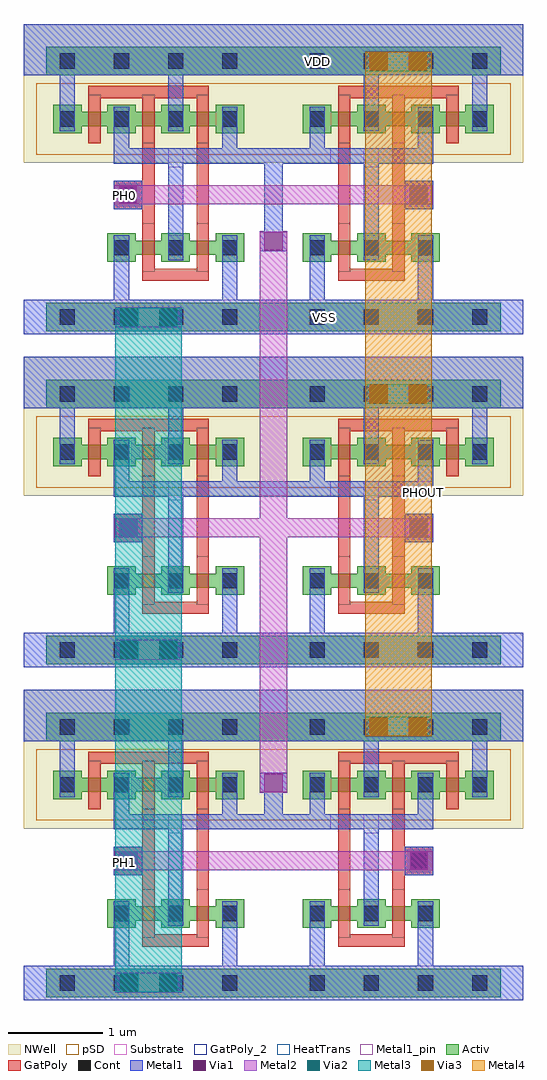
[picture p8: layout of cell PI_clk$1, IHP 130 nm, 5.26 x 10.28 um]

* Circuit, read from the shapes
.subckt PI_clk$1 PH0 PH1 PHOUT VDD VSS
XM1 inv_PI_d2$1_1/VIN PH1 VSS VSS sg13_lv_nmos w=0.15u l=0.13u m=4
XM2 PHOUT inv_PI_d2$1_1/VIN VSS VSS sg13_lv_nmos w=0.15u l=0.13u m=4
XM3 inv_PI_d2$1_1/VIN PH0 VSS VSS sg13_lv_nmos w=0.15u l=0.13u m=4
XM4 inv_PI_d2$1_1/VIN PH1 VDD VDD sg13_lv_pmos w=0.15u l=0.13u m=6
XM5 PHOUT inv_PI_d2$1_1/VIN VDD VDD sg13_lv_pmos w=0.15u l=0.13u m=6
XM6 inv_PI_d2$1_1/VIN PH0 VDD VDD sg13_lv_pmos w=0.15u l=0.13u m=6
.ends

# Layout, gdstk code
from math import pi, radians
import gdstk
lib = gdstk.Library(unit=1e-6, precision=5e-09)
def R(c, l, rs):  # rectangles x0, y0, x1, y1
    for r in rs: c.add(gdstk.rectangle(r[:2], r[2:], *l))
def A(c, l, x, y, w, h, nx, ny, dx, dy):  # array of equal rectangles
    R(c, l, [(x+i*dx, y+j*dy, x+i*dx+w, y+j*dy+h) for i in range(nx) for j in range(ny)])
Activ = (1, 0)
GatPoly = (5, 0)
GatPoly_2 = (5, 2)
Cont = (6, 0)
Metal1 = (8, 0)
Metal1_pin = (8, 2)
Metal2 = (10, 0)
pSD = (14, 0)
Via1 = (19, 0)
Via2 = (29, 0)
Metal3 = (30, 0)
NWell = (31, 0)
Substrate = (40, 0)
Via3 = (49, 0)
Metal4 = (50, 0)
HeatTrans = (51, 0)

pmos_1_1_1_1 = lib.new_cell('pmos$1$1$1$1')
A(pmos_1_1_1_1, Activ, 0, 0, 0.3, 0.3, 4, 1, 0.57, 0)
R(pmos_1_1_1_1, Activ, [(0,0.075,2.01,0.225)])
A(pmos_1_1_1_1, GatPoly, 0.37, -0.105, 0.13, 0.51, 3, 1, 0.57, 0)
R(pmos_1_1_1_1, GatPoly, [(0.37,-0.105,0.5,0.405)])
A(pmos_1_1_1_1, Cont, 0.07, 0.07, 0.16, 0.16, 4, 1, 0.57, 0)
A(pmos_1_1_1_1, Metal1, 0.64, 0.02, 0.16, 0.26, 3, 1, 0.57, 0)
R(pmos_1_1_1_1, Metal1, [(0.07,0.02,0.23,0.28), (0.07,0.02,0.23,0.28), (0.64,0.02,0.8,0.28)])
R(pmos_1_1_1_1, pSD, [(-0.18,-0.225,2.19,0.525)])
R(pmos_1_1_1_1, NWell, [(-0.31,-0.31,2.32,0.61)])
R(pmos_1_1_1_1, Substrate, [(1.71,0,2.01,0.3)])
A(pmos_1_1_1_1, HeatTrans, 0.37, -0.105, 0.13, 0.51, 3, 1, 0.57, 0)
pmos_1_1_1_1.add(gdstk.Label('pmos', (0.435,0.15), layer=63, texttype=0))
pmos_1_1_1_1.add(gdstk.Label('pmos', (0.435,0.15), layer=51, texttype=0))
pmos_1_1_1_1.add(gdstk.Label('pmos', (1.005,0.15), layer=51, texttype=0))
pmos_1_1_1_1.add(gdstk.Label('pmos', (1.575,0.15), layer=51, texttype=0))

nmos_9_3_1 = lib.new_cell('nmos$9$3$1')
A(nmos_9_3_1, Activ, 0, 0, 0.3, 0.3, 3, 1, 0.57, 0)
R(nmos_9_3_1, Activ, [(0,0.075,1.44,0.225)])
R(nmos_9_3_1, GatPoly, [(0.37,-0.105,0.5,0.405), (0.94,-0.105,1.07,0.405)])
R(nmos_9_3_1, GatPoly_2, [(0.37,-0.105,0.5,0.405)])
A(nmos_9_3_1, Cont, 0.07, 0.07, 0.16, 0.16, 3, 1, 0.57, 0)
A(nmos_9_3_1, Metal1, 0.07, 0.02, 0.16, 0.26, 3, 1, 0.57, 0)
R(nmos_9_3_1, Metal1_pin, [(0.07,0.02,0.23,0.28), (0.64,0.02,0.8,0.28)])
R(nmos_9_3_1, HeatTrans, [(0.37,-0.105,0.5,0.405), (0.94,-0.105,1.07,0.405)])
nmos_9_3_1.add(gdstk.Label('nmos', (0.435,0.15), layer=63, texttype=0))
nmos_9_3_1.add(gdstk.Label('nmos', (0.435,0.15), layer=51, texttype=0))
nmos_9_3_1.add(gdstk.Label('nmos', (1.005,0.15), layer=51, texttype=0))

inv_pi_1 = lib.new_cell('inv_PI$1')
R(inv_pi_1, Activ, [(2,1.95,4.15,2.25), (2,4.645,4.15,4.945)])
R(inv_pi_1, GatPoly, [(3.01,2.48,3.71,2.61), (3.01,2.655,3.14,4.535), (3.58,2.655,3.71,4.535), (2.71,3.235,3.01,3.535), (2.44,3.93,2.57,4.535), (2.44,4.405,3.71,4.535)])
A(inv_pi_1, Cont, 2.14, 2.02, 0.16, 0.16, 4, 2, 0.57, 2.695)
R(inv_pi_1, Cont, [(2.78,3.305,2.94,3.465)])
R(inv_pi_1, Metal1, [(1.76,1.92,4.39,2.28), (2.71,1.95,2.87,2.96), (3.85,1.95,4.01,2.96), (3.28,2.7,3.44,3.875), (2.71,3.235,3.01,3.535), (2.71,3.715,4.01,3.875), (2.71,3.715,2.87,4.315), (3.85,3.715,4.01,4.315), (2.14,4.105,2.3,4.945), (3.28,4.105,3.44,4.945), (1.76,4.645,4.39,5.185)])
R(inv_pi_1, Metal1_pin, [(1.76,1.92,4.39,2.28), (2.71,3.235,3.01,3.535), (3.28,3.675,3.44,3.875), (1.76,4.645,4.39,5.185)])
R(inv_pi_1, pSD, [(1.76,1.92,4.39,2.28)])
R(inv_pi_1, NWell, [(1.76,4.645,4.39,5.185)])
inv_pi_1.add(gdstk.Reference(pmos_1_1_1_1, (2.07,4.035)))
inv_pi_1.add(gdstk.Reference(nmos_9_3_1, (2.64,2.68)))
inv_pi_1.add(gdstk.Label('VDD', (3.075,4.805), layer=8, texttype=25))
inv_pi_1.add(gdstk.Label('VOUT', (3.28,3.75), layer=8, texttype=25))
inv_pi_1.add(gdstk.Label('VIN', (2.8,3.32), layer=8, texttype=25))
inv_pi_1.add(gdstk.Label('VSS', (3.025,2.065), layer=8, texttype=25))

inv_pi_d2_1 = lib.new_cell('inv_PI_d2$1')
R(inv_pi_d2_1, Activ, [(4.15,1.95,4.63,2.25), (4.15,4.645,4.635,4.945)])
R(inv_pi_d2_1, Metal1, [(2.715,3.28,3.005,3.49), (5.775,3.28,6.065,3.49), (4.01,3.715,4.93,3.875)])
R(inv_pi_d2_1, Metal1_pin, [(1.76,1.92,7.02,2.28), (4.99,3.715,5.15,3.875), (1.76,4.645,7.02,5.185)])
R(inv_pi_d2_1, Metal2, [(2.715,3.285,6.065,3.485)])
R(inv_pi_d2_1, pSD, [(4.26,3.81,4.52,4.56)])
R(inv_pi_d2_1, Via1, [(2.765,3.29,2.955,3.48), (5.825,3.29,6.015,3.48)])
inv_pi_d2_1.add(gdstk.Reference(inv_pi_1, (0,0)))
inv_pi_d2_1.add(gdstk.Reference(inv_pi_1, (8.78,0), rotation=pi, x_reflection=True))
inv_pi_d2_1.add(gdstk.Label('VDD', (3.925,4.795), layer=8, texttype=25))
inv_pi_d2_1.add(gdstk.Label('VOUT', (5.035,3.77), layer=8, texttype=25))
inv_pi_d2_1.add(gdstk.Label('VIN', (2.86,3.385), layer=8, texttype=25))
inv_pi_d2_1.add(gdstk.Label('VSS', (3.93,2.1), layer=8, texttype=25))

pi_clk_1 = lib.new_cell('PI_clk$1')
A(pi_clk_1, Metal1, 5.355, 4.45, 0.7, 0.21, 1, 3, 0, 3.505)
R(pi_clk_1, Metal1, [(2.725,1.755,3.425,1.965), (2.725,1.755,3.425,1.965), (4.29,3.475,4.49,3.965), (4.245,3.86,4.535,4.07), (2.725,5.26,3.425,5.47), (2.725,5.26,3.425,5.47), (2.725,8.765,3.425,8.975), (2.725,8.765,3.425,8.975), (4.245,9.565,4.535,9.775), (4.29,9.67,4.49,10.645)])
R(pi_clk_1, Metal1_pin, [(2.71,2.995,3.01,3.295), (5.91,6.98,6.07,7.14), (1.76,8.69,7.02,9.05), (2.71,10.005,3.01,10.305), (1.76,11.415,7.02,11.955)])
A(pi_clk_1, Metal2, 5.355, 4.45, 0.7, 0.21, 1, 3, 0, 3.505)
R(pi_clk_1, Metal2, [(2.725,1.755,3.425,1.965), (2.725,1.755,3.425,1.965), (4.245,3.865,4.535,4.065), (4.245,3.865,4.535,6.75), (2.725,5.26,3.425,5.47), (2.725,5.26,3.425,5.47), (4.245,6.55,4.535,9.77), (2.725,8.765,3.425,8.975), (2.725,8.765,3.425,8.975), (4.245,9.57,4.535,9.77)])
A(pi_clk_1, Via1, 5.405, 4.46, 0.19, 0.19, 1, 3, 0, 3.505)
A(pi_clk_1, Via1, 5.815, 4.46, 0.19, 0.19, 1, 3, 0, 3.505)
R(pi_clk_1, Via1, [(2.775,1.765,2.965,1.955), (2.775,1.765,2.965,1.955), (3.185,1.765,3.375,1.955), (3.185,1.765,3.375,1.955), (4.295,3.87,4.485,4.06), (2.775,5.27,2.965,5.46), (2.775,5.27,2.965,5.46), (3.185,5.27,3.375,5.46), (3.185,5.27,3.375,5.46), (2.775,8.775,2.965,8.965), (2.775,8.775,2.965,8.965), (3.185,8.775,3.375,8.965), (3.185,8.775,3.375,8.965), (4.295,9.575,4.485,9.765)])
A(pi_clk_1, Via2, 5.405, 4.46, 0.19, 0.19, 1, 3, 0, 3.505)
A(pi_clk_1, Via2, 5.815, 4.46, 0.19, 0.19, 1, 3, 0, 3.505)
R(pi_clk_1, Via2, [(2.775,1.765,2.965,1.955), (2.775,1.765,2.965,1.955), (3.185,1.765,3.375,1.955), (3.185,1.765,3.375,1.955), (2.775,5.27,2.965,5.46), (2.775,5.27,2.965,5.46), (3.185,5.27,3.375,5.46), (3.185,5.27,3.375,5.46), (2.775,8.775,2.965,8.965), (2.775,8.775,2.965,8.965), (3.185,8.775,3.375,8.965), (3.185,8.775,3.375,8.965)])
A(pi_clk_1, Metal3, 5.355, 4.45, 0.7, 0.21, 1, 3, 0, 3.505)
R(pi_clk_1, Metal3, [(2.725,1.76,3.425,1.96), (2.725,1.76,3.425,1.96), (2.725,1.76,3.425,8.97), (2.725,5.265,3.425,5.465), (2.725,5.265,3.425,5.465), (2.725,8.77,3.425,8.97), (2.725,8.77,3.425,8.97)])
A(pi_clk_1, Via3, 5.405, 4.46, 0.19, 0.19, 1, 3, 0, 3.505)
A(pi_clk_1, Via3, 5.815, 4.46, 0.19, 0.19, 1, 3, 0, 3.505)
A(pi_clk_1, Metal4, 5.355, 4.455, 0.7, 0.2, 1, 3, 0, 3.505)
R(pi_clk_1, Metal4, [(5.355,4.455,6.055,11.665)])
pi_clk_1.add(gdstk.Reference(inv_pi_d2_1, (0,-0.24)))
pi_clk_1.add(gdstk.Reference(inv_pi_d2_1, (0,3.265)))
pi_clk_1.add(gdstk.Reference(inv_pi_d2_1, (0,6.77)))
pi_clk_1.add(gdstk.Label('VDD', (4.85,11.565), layer=8, texttype=25))
pi_clk_1.add(gdstk.Label('VSS', (4.93,8.87), layer=8, texttype=25))
pi_clk_1.add(gdstk.Label('PH0', (2.825,10.145), layer=8, texttype=25))
pi_clk_1.add(gdstk.Label('PH1', (2.82,3.13), layer=8, texttype=25))
pi_clk_1.add(gdstk.Label('PHOUT', (5.97,7.02), layer=8, texttype=25))

lib.write_gds('PI_clk_1.gds')
